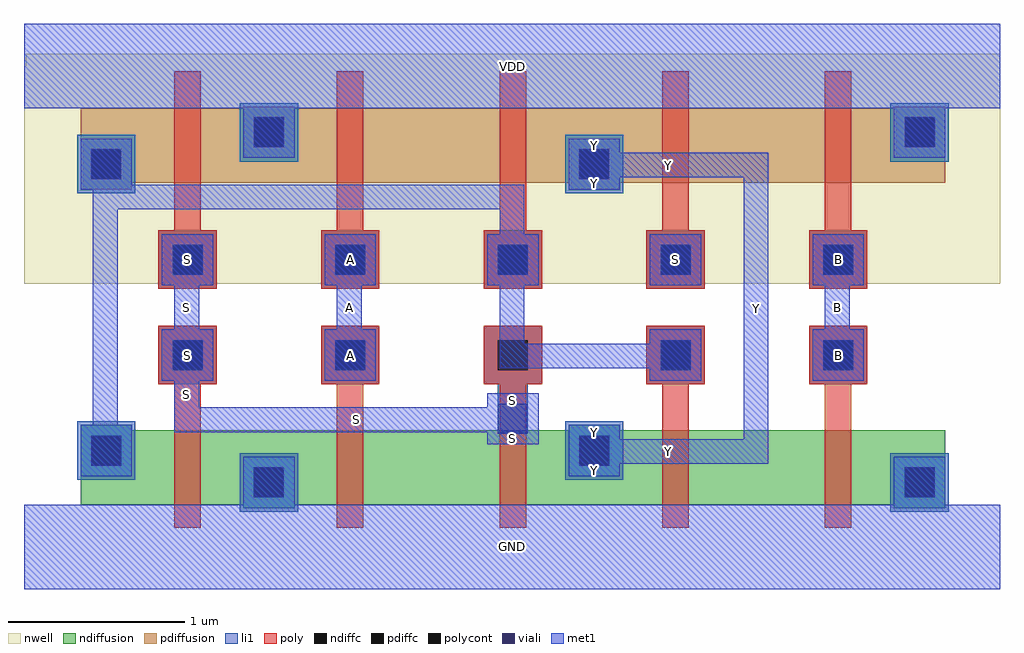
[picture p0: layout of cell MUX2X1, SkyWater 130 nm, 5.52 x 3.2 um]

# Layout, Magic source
magic
# Generated by librecell
tech sky130A
<< nwell >>
rect 0 149 552 272
rect 1 272 552 279
<< viali >>
rect 130 28 147 45
rect 498 28 515 45
rect 38 46 55 63
rect 314 46 331 63
rect 268 64 285 81
rect 84 100 101 117
rect 176 100 193 117
rect 360 100 377 117
rect 452 100 469 117
rect 84 154 101 171
rect 176 154 193 171
rect 268 154 285 171
rect 360 154 377 171
rect 452 154 469 171
rect 38 208 55 225
rect 314 208 331 225
rect 130 226 147 243
rect 498 226 515 243
<< poly >>
rect 85 11 100 92
rect 76 92 109 125
rect 177 11 192 92
rect 168 92 201 125
rect 269 11 284 92
rect 260 92 293 125
rect 361 11 376 92
rect 352 92 385 125
rect 453 11 468 92
rect 444 92 477 125
rect 76 146 109 179
rect 85 179 100 269
rect 168 146 201 179
rect 177 179 192 269
rect 260 146 293 179
rect 269 179 284 269
rect 352 146 385 179
rect 361 179 376 269
rect 444 146 477 179
rect 453 179 468 269
<< properties >>
string FIXED_BBOX 0 0 552 272
<< li1 >>
rect 122 20 155 53
rect 490 20 523 53
rect 30 38 63 71
rect 306 38 339 71
rect 76 92 109 125
rect 168 92 201 125
rect 268 64 285 92
rect 260 92 293 125
rect 352 92 385 125
rect 444 92 477 125
rect 76 146 109 179
rect 168 146 201 179
rect 260 146 293 179
rect 352 146 385 179
rect 444 146 477 179
rect 30 200 63 233
rect 306 200 339 233
rect 122 218 155 251
rect 490 218 523 251
<< met1 >>
rect 0 -24 552 24
rect 124 24 153 51
rect 492 24 521 51
rect 262 58 291 65
rect 85 65 291 79
rect 262 79 291 87
rect 85 79 99 94
rect 78 94 107 123
rect 85 123 99 148
rect 78 148 107 177
rect 170 94 199 123
rect 177 123 191 148
rect 170 148 199 177
rect 354 148 383 177
rect 446 94 475 123
rect 453 123 467 148
rect 446 148 475 177
rect 32 40 61 69
rect 354 94 383 101
rect 269 101 383 115
rect 354 115 383 123
rect 269 115 283 148
rect 262 148 291 177
rect 39 69 53 191
rect 269 177 283 191
rect 39 191 283 202
rect 32 202 283 205
rect 32 205 61 231
rect 308 40 337 47
rect 308 47 421 61
rect 308 61 337 69
rect 308 202 337 209
rect 407 61 421 209
rect 308 209 421 223
rect 308 223 337 231
rect 124 220 153 248
rect 492 220 521 248
rect 0 248 552 296
<< li1 >>
<< met1 >>
<< li1 >>
<< met1 >>
rect 0 -24 552 24
rect 170 94 199 123
rect 177 123 191 148
rect 170 148 199 177
rect 354 148 383 177
rect 446 94 475 123
rect 453 123 467 148
rect 446 148 475 177
rect 308 40 337 47
rect 308 47 421 61
rect 308 61 337 69
rect 308 202 337 209
rect 407 61 421 209
rect 308 209 421 223
rect 308 223 337 231
rect 0 248 552 296
<< ndiffusion >>
rect 124 22 153 24
rect 492 22 521 24
rect 32 24 521 66
rect 32 66 61 69
rect 308 66 337 69
<< pdiffusion >>
rect 32 202 61 206
rect 308 202 337 206
rect 32 206 521 248
rect 124 248 153 249
rect 492 248 521 249
<< polycont >>
rect 84 100 101 117
rect 176 100 193 117
rect 268 100 285 117
rect 360 100 377 117
rect 452 100 469 117
rect 84 154 101 171
rect 176 154 193 171
rect 268 154 285 171
rect 360 154 377 171
rect 452 154 469 171
<< pdiffc >>
rect 38 208 55 225
rect 314 208 331 225
rect 130 226 147 243
rect 498 226 515 243
<< ndiffc >>
rect 130 28 147 45
rect 498 28 515 45
rect 38 46 55 63
rect 314 46 331 63
<< labels >>
rlabel metal2 0 248 552 296 0 VDD
port 1 se
rlabel metal2 0 -24 552 24 0 GND
port 2 se
rlabel metal2 308 40 337 47 0 Y
port 3 se
rlabel metal2 308 47 421 61 0 Y
port 4 se
rlabel metal2 308 61 337 69 0 Y
port 5 se
rlabel metal2 308 202 337 209 0 Y
port 6 se
rlabel metal2 407 61 421 209 0 Y
port 7 se
rlabel metal2 308 209 421 223 0 Y
port 8 se
rlabel metal2 308 223 337 231 0 Y
port 9 se
rlabel metal2 170 94 199 123 0 A
port 10 se
rlabel metal2 177 123 191 148 0 A
port 11 se
rlabel metal2 170 148 199 177 0 A
port 12 se
rlabel metal2 262 58 291 65 0 S
port 13 se
rlabel metal2 85 65 291 79 0 S
port 14 se
rlabel metal2 262 79 291 87 0 S
port 15 se
rlabel metal2 85 79 99 94 0 S
port 16 se
rlabel metal2 78 94 107 123 0 S
port 17 se
rlabel metal2 85 123 99 148 0 S
port 18 se
rlabel metal2 78 148 107 177 0 S
port 19 se
rlabel metal2 354 148 383 177 0 S
port 20 se
rlabel metal2 446 94 475 123 0 B
port 21 se
rlabel metal2 453 123 467 148 0 B
port 22 se
rlabel metal2 446 148 475 177 0 B
port 23 se
<< end >>
